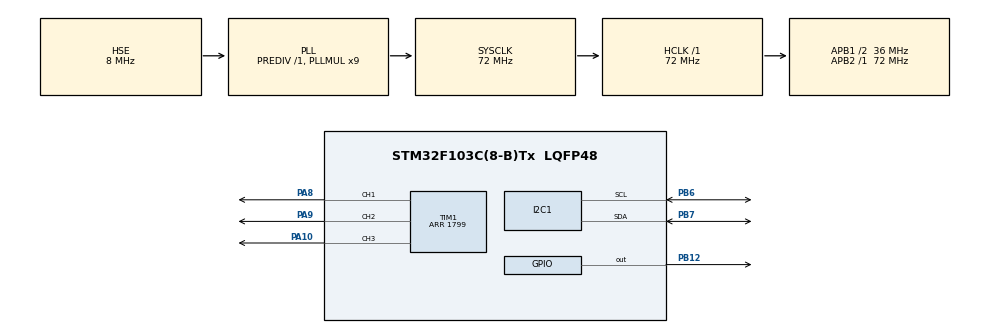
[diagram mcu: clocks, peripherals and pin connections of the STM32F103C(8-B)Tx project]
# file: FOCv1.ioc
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I2C1.I2C_Mode=I2C_Fast
Mcu.Family=STM32F1
Mcu.Name=STM32F103C(8-B)Tx
Mcu.Package=LQFP48
NVIC.PriorityGroup=NVIC_PRIORITYGROUP_4
PA10.Signal=S_TIM1_CH3
PA13.Mode=Serial_Wire
PA13.Signal=SYS_JTMS-SWDIO
PA14.Mode=Serial_Wire
PA14.Signal=SYS_JTCK-SWCLK
PA8.Signal=S_TIM1_CH1
PA9.Signal=S_TIM1_CH2
PB12.Signal=GPIO_Output
PB6.Mode=I2C
PB6.Signal=I2C1_SCL
PB7.Mode=I2C
PB7.Signal=I2C1_SDA
PD0-OSC_IN.Mode=HSE-External-Oscillator
PD0-OSC_IN.Signal=RCC_OSC_IN
PD1-OSC_OUT.Mode=HSE-External-Oscillator
PD1-OSC_OUT.Signal=RCC_OSC_OUT
ProjectManager.HeapSize=0x200
ProjectManager.StackSize=0x400
ProjectManager.TargetToolchain=MDK-ARM V5.32
RCC.AHBFreq_Value=72000000
RCC.APB1CLKDivider=RCC_HCLK_DIV2
RCC.APB1Freq_Value=36000000
RCC.APB1TimFreq_Value=72000000
RCC.APB2Freq_Value=72000000
RCC.APB2TimFreq_Value=72000000
RCC.HCLKFreq_Value=72000000
RCC.PLLMUL=RCC_PLL_MUL9
RCC.PLLSourceVirtual=RCC_PLLSOURCE_HSE
RCC.SYSCLKFreq_VALUE=72000000
RCC.SYSCLKSource=RCC_SYSCLKSOURCE_PLLCLK
RCC.USBFreq_Value=72000000
SH.S_TIM1_CH1.0=TIM1_CH1,PWM Generation1 CH1
SH.S_TIM1_CH2.0=TIM1_CH2,PWM Generation2 CH2
SH.S_TIM1_CH3.0=TIM1_CH3,PWM Generation3 CH3
TIM1.AutoReloadPreload=TIM_AUTORELOAD_PRELOAD_ENABLE
TIM1.Channel-PWM\ Generation1\ CH1=TIM_CHANNEL_1
TIM1.Channel-PWM\ Generation2\ CH2=TIM_CHANNEL_2
TIM1.Channel-PWM\ Generation3\ CH3=TIM_CHANNEL_3
TIM1.CounterMode=TIM_COUNTERMODE_CENTERALIGNED1
TIM1.Period=1799
VP_TIM1_VS_ClockSourceINT.Mode=Internal
board=custom

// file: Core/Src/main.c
/* USER CODE BEGIN Header */
/**
  ******************************************************************************
  * @file           : main.c
  * @brief          : Main program body
  ******************************************************************************
  * @attention
  *
  * Copyright (c) 2026 STMicroelectronics.
  * All rights reserved.
  *
  * This software is licensed under terms that can be found in the LICENSE file
  * in the root directory of this software component.
  * If no LICENSE file comes with this software, it is provided AS-IS.
  *
  ******************************************************************************
  */
/* USER CODE END Header */
#include "main.h"

/* USER CODE BEGIN Includes */
#include "stdint.h"
#include "stdbool.h"
#include "as5600.h"
#include "math.h"
#include "FOC.h"
#include "IMP_CTRL.h"
/* USER CODE END Includes */

/* USER CODE BEGIN PTD */
typedef struct
{
	float prev_angle;
	float velocity_raw;
	float velocity_filtered;
	float filter_alpha; // [0;1]
	uint32_t prev_time;
}Velocity_Estimator_t;
typedef struct
{
	float Kp, Ki, Kd;
	float integral;
	float integral_limit;
	float prev_error;
	float output_limit;
	uint32_t prev_time; //ms
}PID_Controller_t;

/* USER CODE END PTD */

I2C_HandleTypeDef hi2c1;

TIM_HandleTypeDef htim1;

/* USER CODE BEGIN PV */
FOC_Controller_t foc_motor;
PID_Controller_t pos_pid;

//plot values
float  current_mechanical_angle = 0.0f;
float current_Vq = 0.0f;

/*******************************************************************************
 * Parameters PID Velocity
 ******************************************************************************/
PID_Controller_t vel_pid;
Velocity_Estimator_t vel_est;
float current_velocity = 0.0f;
uint32_t control_loop_timer = 0;

Impedance_Controller_t imp_ctrl;
float target_angle = 0.0f;
Angle_Unwrapper_t angle_unw;
float cont_angle = 0.0f;
/* USER CODE END PV */

void SystemClock_Config(void);
static void MX_GPIO_Init(void);
static void MX_I2C1_Init(void);
static void MX_TIM1_Init(void);
/* USER CODE BEGIN PFP */

/*******************************************************************************
 * PID Position function prototypes
 ******************************************************************************/
void PID_init(PID_Controller_t *pid, float Kp, float Ki, float Kd, float output_limit);
float PID_compute(PID_Controller_t *pid, float setpoint, float measurement);
float normalize_angle_error(float error);

/*******************************************************************************
 * PID velocity function prototypes
 ******************************************************************************/
void  VelEst_init(Velocity_Estimator_t *vel, float filter_alpha);
float VelEst_update(Velocity_Estimator_t *vel, float current_angle);

/* USER CODE END PFP */

/* USER CODE BEGIN 0 */

float normalize_angle_error(float error)
{
	  while (error > M_PI)  error -= 2.0f * M_PI;
    while (error < -M_PI) error += 2.0f * M_PI;
    return error;
}

void PID_init(PID_Controller_t *pid, float Kp, float Ki, float Kd, float output_limit)
{
	  pid->Kp = Kp;
    pid->Ki = Ki;
    pid->Kd = Kd;
    pid->integral = 0.0f;
    pid->integral_limit = output_limit;
    pid->prev_error = 0.0f;
    pid->output_limit = output_limit;
    pid->prev_time = HAL_GetTick();
}
float PID_compute(PID_Controller_t *pid, float setpoint, float measurement)
{
	uint32_t now = HAL_GetTick();
	float dt = (now - pid->prev_time) / 1000.0f;
	if(dt <= 0.0f) dt = 0.001f;
	pid->prev_time = now;

	float error = normalize_angle_error(setpoint - measurement);

	//Ki
	pid->integral += error * dt;
  if (pid->integral >  pid->integral_limit) pid->integral =  pid->integral_limit;
  if (pid->integral < -pid->integral_limit) pid->integral = -pid->integral_limit;

	//Kp
	float derivative = (error - pid->prev_error) / dt;
	pid->prev_error = error;

	//Output
	float output = pid->Kp * error + pid->integral * pid->Ki + pid->Kd * derivative;

	if (output >  pid->output_limit) output =  pid->output_limit;
  if (output < -pid->output_limit) output = -pid->output_limit;

	return output;
}

void VelEst_init(Velocity_Estimator_t *vel, float filter_alpha)
{
	vel->prev_angle = AS5600_GetAngleRad(&hi2c1);
	vel->velocity_raw = 0.0f;
	vel->velocity_filtered = 0.0f;
	vel->filter_alpha = filter_alpha;
	vel->prev_time = HAL_GetTick();
}

float VelEst_update(Velocity_Estimator_t *vel, float current_angle)
{
	uint32_t now = HAL_GetTick();
	float dt = (now - vel->prev_time) / 1000.0f;
	if(dt <= 0.0f) dt = 0.001f;
	vel->prev_time = now;

	float delta = normalize_angle_error(current_angle - vel->prev_angle);
	if(delta > M_PI) delta -= 2.0f * M_PI;
	if(delta < -M_PI) delta += 2.0f * M_PI;

	vel->prev_angle = current_angle;
	vel->velocity_raw = delta / dt; // rad/s

	//Low-Pass Filter
   vel->velocity_filtered += vel->filter_alpha * (vel->velocity_raw - vel->velocity_filtered);

	return vel->velocity_filtered;
}

float PID_compute_linear(PID_Controller_t *pid, float setpoint, float measurement)
{
    uint32_t now = HAL_GetTick();
    float dt = (now - pid->prev_time) / 1000.0f;
    if (dt <= 0.0001f) dt = 0.001f;
    pid->prev_time = now;

    float error = setpoint - measurement;

    float P = pid->Kp * error;

    pid->integral += error * dt;
    float I = pid->Ki * pid->integral;
    if (I > pid->output_limit) {
        I = pid->output_limit;
        pid->integral = I / (pid->Ki > 0.0f ? pid->Ki : 1.0f);
    } else if (I < -pid->output_limit) {
        I = -pid->output_limit;
        pid->integral = I / (pid->Ki > 0.0f ? pid->Ki : 1.0f);
    }

    float derivative = (error - pid->prev_error) / dt;
    pid->prev_error = error;
    float D = pid->Kd * derivative;

    float output = P + I + D;

    if (output >  pid->output_limit) output =  pid->output_limit;
    if (output < -pid->output_limit) output = -pid->output_limit;

    return output;
}

/* USER CODE END 0 */

int main(void)
{

  /* MCU Configuration--------------------------------------------------------*/

  /* Reset of all peripherals, Initializes the Flash interface and the Systick. */
  HAL_Init();

  /* Configure the system clock */
  SystemClock_Config();

  /* Initialize all configured peripherals */
  MX_GPIO_Init();
  MX_I2C1_Init();
  MX_TIM1_Init();
  /* USER CODE BEGIN 2 */

	/*init motor*/
	FOC_init(&foc_motor, POLE_PAIRS, VOLTAGE_POWER, VOLTAGE_LIMIT);

	/*init TIM1*/
	HAL_TIM_PWM_Start(&htim1, TIM_CHANNEL_1);
	HAL_TIM_PWM_Start(&htim1, TIM_CHANNEL_2);
	HAL_TIM_PWM_Start(&htim1, TIM_CHANNEL_3);
	__HAL_TIM_MOE_ENABLE(&htim1);
	HAL_GPIO_WritePin(GPIOB, GPIO_PIN_12, GPIO_PIN_SET);
	HAL_Delay(10);
	FOC_align_sensor(&foc_motor);

	/*******************************************************************************
 * Impedance control init
 ******************************************************************************/
	float raw_init = AS5600_GetAngleRad(&hi2c1);
	Angle_Unwrapper_Init(&angle_unw, raw_init);
	Impedance_Init(&imp_ctrl, 2.0f, 0.05f, VOLTAGE_LIMIT);

	target_angle = angle_unw.continuous_angle;
	imp_ctrl.prev_pos = target_angle;
  /* USER CODE END 2 */

  /* Infinite loop */
  /* USER CODE BEGIN WHILE */
  while (1)
  {

		float raw_angle = AS5600_GetAngleRad(&hi2c1);
		cont_angle = Angle_Unwrapper_Update(&angle_unw, raw_angle);

		FOC_update_electrical_angle(&foc_motor, raw_angle);

		float Vq = Impedance_Compute(&imp_ctrl, target_angle, 0.0f, cont_angle);

    FOC_step(&foc_motor, Vq, 0.0f);

		TIM1->CCR1 = (uint32_t)(foc_motor.duty_a * (float)PWM_ARR_PERIOD);
		TIM1->CCR2 = (uint32_t)(foc_motor.duty_b * (float)PWM_ARR_PERIOD);
		TIM1->CCR3 = (uint32_t)(foc_motor.duty_c * (float)PWM_ARR_PERIOD);

    /* USER CODE END WHILE */

  }
}

void SystemClock_Config(void)
{
  RCC_OscInitTypeDef RCC_OscInitStruct = {0};
  RCC_ClkInitTypeDef RCC_ClkInitStruct = {0};

  /** Initializes the RCC Oscillators according to the specified parameters
  * in the RCC_OscInitTypeDef structure.
  */
  RCC_OscInitStruct.OscillatorType = RCC_OSCILLATORTYPE_HSE;
  RCC_OscInitStruct.HSEState = RCC_HSE_ON;
  RCC_OscInitStruct.HSEPredivValue = RCC_HSE_PREDIV_DIV1;
  RCC_OscInitStruct.HSIState = RCC_HSI_ON;
  RCC_OscInitStruct.PLL.PLLState = RCC_PLL_ON;
  RCC_OscInitStruct.PLL.PLLSource = RCC_PLLSOURCE_HSE;
  RCC_OscInitStruct.PLL.PLLMUL = RCC_PLL_MUL9;
  if (HAL_RCC_OscConfig(&RCC_OscInitStruct) != HAL_OK)
  {
    Error_Handler();
  }

  /** Initializes the CPU, AHB and APB buses clocks
  */
  RCC_ClkInitStruct.ClockType = RCC_CLOCKTYPE_HCLK|RCC_CLOCKTYPE_SYSCLK
                              |RCC_CLOCKTYPE_PCLK1|RCC_CLOCKTYPE_PCLK2;
  RCC_ClkInitStruct.SYSCLKSource = RCC_SYSCLKSOURCE_PLLCLK;
  RCC_ClkInitStruct.AHBCLKDivider = RCC_SYSCLK_DIV1;
  RCC_ClkInitStruct.APB1CLKDivider = RCC_HCLK_DIV2;
  RCC_ClkInitStruct.APB2CLKDivider = RCC_HCLK_DIV1;

  if (HAL_RCC_ClockConfig(&RCC_ClkInitStruct, FLASH_LATENCY_2) != HAL_OK)
  {
    Error_Handler();
  }
}

static void MX_I2C1_Init(void)
{

  hi2c1.Instance = I2C1;
  hi2c1.Init.ClockSpeed = 400000;
  hi2c1.Init.DutyCycle = I2C_DUTYCYCLE_2;
  hi2c1.Init.OwnAddress1 = 0;
  hi2c1.Init.AddressingMode = I2C_ADDRESSINGMODE_7BIT;
  hi2c1.Init.DualAddressMode = I2C_DUALADDRESS_DISABLE;
  hi2c1.Init.OwnAddress2 = 0;
  hi2c1.Init.GeneralCallMode = I2C_GENERALCALL_DISABLE;
  hi2c1.Init.NoStretchMode = I2C_NOSTRETCH_DISABLE;
  if (HAL_I2C_Init(&hi2c1) != HAL_OK)
  {
    Error_Handler();
  }

}

static void MX_TIM1_Init(void)
{

  TIM_ClockConfigTypeDef sClockSourceConfig = {0};
  TIM_MasterConfigTypeDef sMasterConfig = {0};
  TIM_OC_InitTypeDef sConfigOC = {0};
  TIM_BreakDeadTimeConfigTypeDef sBreakDeadTimeConfig = {0};

  htim1.Instance = TIM1;
  htim1.Init.Prescaler = 0;
  htim1.Init.CounterMode = TIM_COUNTERMODE_CENTERALIGNED1;
  htim1.Init.Period = 1799;
  htim1.Init.ClockDivision = TIM_CLOCKDIVISION_DIV1;
  htim1.Init.RepetitionCounter = 0;
  htim1.Init.AutoReloadPreload = TIM_AUTORELOAD_PRELOAD_ENABLE;
  if (HAL_TIM_Base_Init(&htim1) != HAL_OK)
  {
    Error_Handler();
  }
  sClockSourceConfig.ClockSource = TIM_CLOCKSOURCE_INTERNAL;
  if (HAL_TIM_ConfigClockSource(&htim1, &sClockSourceConfig) != HAL_OK)
  {
    Error_Handler();
  }
  if (HAL_TIM_PWM_Init(&htim1) != HAL_OK)
  {
    Error_Handler();
  }
  sMasterConfig.MasterOutputTrigger = TIM_TRGO_RESET;
  sMasterConfig.MasterSlaveMode = TIM_MASTERSLAVEMODE_DISABLE;
  if (HAL_TIMEx_MasterConfigSynchronization(&htim1, &sMasterConfig) != HAL_OK)
  {
    Error_Handler();
  }
  sConfigOC.OCMode = TIM_OCMODE_PWM1;
  sConfigOC.Pulse = 0;
  sConfigOC.OCPolarity = TIM_OCPOLARITY_HIGH;
  sConfigOC.OCNPolarity = TIM_OCNPOLARITY_HIGH;
  sConfigOC.OCFastMode = TIM_OCFAST_DISABLE;
  sConfigOC.OCIdleState = TIM_OCIDLESTATE_RESET;
  sConfigOC.OCNIdleState = TIM_OCNIDLESTATE_RESET;
  if (HAL_TIM_PWM_ConfigChannel(&htim1, &sConfigOC, TIM_CHANNEL_1) != HAL_OK)
  {
    Error_Handler();
  }
  if (HAL_TIM_PWM_ConfigChannel(&htim1, &sConfigOC, TIM_CHANNEL_2) != HAL_OK)
  {
    Error_Handler();
  }
  if (HAL_TIM_PWM_ConfigChannel(&htim1, &sConfigOC, TIM_CHANNEL_3) != HAL_OK)
  {
    Error_Handler();
  }
  sBreakDeadTimeConfig.OffStateRunMode = TIM_OSSR_DISABLE;
  sBreakDeadTimeConfig.OffStateIDLEMode = TIM_OSSI_DISABLE;
  sBreakDeadTimeConfig.LockLevel = TIM_LOCKLEVEL_OFF;
  sBreakDeadTimeConfig.DeadTime = 0;
  sBreakDeadTimeConfig.BreakState = TIM_BREAK_DISABLE;
  sBreakDeadTimeConfig.BreakPolarity = TIM_BREAKPOLARITY_HIGH;
  sBreakDeadTimeConfig.AutomaticOutput = TIM_AUTOMATICOUTPUT_DISABLE;
  if (HAL_TIMEx_ConfigBreakDeadTime(&htim1, &sBreakDeadTimeConfig) != HAL_OK)
  {
    Error_Handler();
  }
  HAL_TIM_MspPostInit(&htim1);

}

static void MX_GPIO_Init(void)
{
  GPIO_InitTypeDef GPIO_InitStruct = {0};

  /* GPIO Ports Clock Enable */
  __HAL_RCC_GPIOD_CLK_ENABLE();
  __HAL_RCC_GPIOB_CLK_ENABLE();
  __HAL_RCC_GPIOA_CLK_ENABLE();

  /*Configure GPIO pin Output Level */
  HAL_GPIO_WritePin(GPIOB, GPIO_PIN_12, GPIO_PIN_RESET);

  /*Configure GPIO pin : PB12 */
  GPIO_InitStruct.Pin = GPIO_PIN_12;
  GPIO_InitStruct.Mode = GPIO_MODE_OUTPUT_PP;
  GPIO_InitStruct.Pull = GPIO_NOPULL;
  GPIO_InitStruct.Speed = GPIO_SPEED_FREQ_LOW;
  HAL_GPIO_Init(GPIOB, &GPIO_InitStruct);

}

void Error_Handler(void)
{
  __disable_irq();
  while (1)
  {
  }
}
